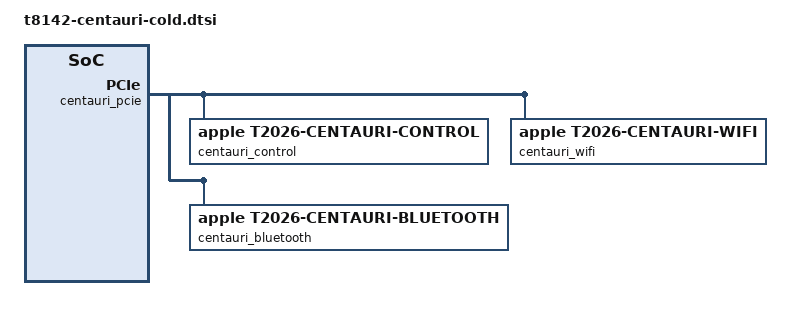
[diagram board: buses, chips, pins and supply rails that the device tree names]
// SPDX-License-Identifier: GPL-2.0-only
/* Experimental T8142/J813 cold image-transfer test.
 * The loader powers/trains PCIe only. Linux owns MSI/RID routing and DART
 * page tables and allocates every image/record/resource through DMA APIs.
 * No wireless firmware, context, queue or retained mapping is supplied by the
 * loader. Linux resets the port between image stages; initial host power/PHY
 * initialization remains in the loader.
 */

/ {
	aliases {
		wifi0 = &centauri_wifi;
		bluetooth0 = &centauri_bluetooth;
	};

	chosen {
		linux,pci-probe-only = <1>;
	};

	soc {
		centauri_dart: iommu@488000000 {
			compatible = "apple,t8110-dart";
			reg = <0x4 0x88000000 0x0 0x20000>;
			#iommu-cells = <1>;
			interrupt-parent = <&aic>;
			interrupts = <0 1463 4>;
		};
		centauri_pcie: pcie@1cb0000000 {
			compatible = "apple,t8142-pcie";
			device_type = "pci";
			reg = <0x1c 0xb0000000 0x0 0x10000000>,
			      <0x4 0x8c000000 0x0 0x4000>,
			      <0x4 0x88028000 0x0 0x8000>,
			      <0x4 0x8f010000 0x0 0x4000>;
			reg-names = "config", "rc", "port0", "phy0";
			interrupt-parent = <&aic>;
			interrupts = <0 1462 4>;
			msi-controller;
			msi-parent = <&centauri_pcie>;
			msi-ranges = <&aic 0 1741 1 32>;
			bus-range = <0 8>;
			#address-cells = <3>;
			#size-cells = <2>;
			ranges = <0x43000000 0xb 0xc0000000 0xb 0xc0000000 0x0 0x20000000>,
				 <0x02000000 0x0 0x80000000 0xb 0x80000000 0x0 0x40000000>;
			iommu-map = <0x100 &centauri_dart 1 3>;
			iommu-map-mask = <0xffff>;
			/* Bootstrap is 01:00.0; runtime functions retain RIDs0100..0102.
			 * One control node describes both states of the physical function.
			 */
			centauri_port0: pci@0,0 {
				device_type = "pci";
				reg = <0 0 0 0 0>;
				reset-gpios = <&pinctrl_ap 192 1>; /* active low */
				bus-range = <1 1>;
				#address-cells = <3>;
				#size-cells = <2>;
				ranges;
				interrupt-controller;
				#interrupt-cells = <1>;
				interrupt-map-mask = <0 0 0 7>;
				interrupt-map = <0 0 0 1 &centauri_port0 0 0 0 0>,
						<0 0 0 2 &centauri_port0 0 0 0 1>,
						<0 0 0 3 &centauri_port0 0 0 0 2>,
						<0 0 0 4 &centauri_port0 0 0 0 3>;
				centauri_control: control@0 {
					compatible = "apple,t2026-centauri-control", "pci106b,1900",
						     "pci106b,1901";
					reg = <0x10000 0 0 0 0>;
					/* Independent firmware inputs are prepared outside the driver. */
					firmware-name = "apple/centauri/experimental-prepared.ftab";
					apple,host-platform-id = <0x248142>;
				};
				centauri_wifi: wifi@0,1 {
					compatible = "apple,t2026-centauri-wifi", "pci106b,1902";
					reg = <0x10100 0 0 0 0>;
					apple,control = <&centauri_control>;
				};
				centauri_bluetooth: bluetooth@0,2 {
					compatible = "apple,t2026-centauri-bluetooth", "pci106b,1903";
					reg = <0x10200 0 0 0 0>;
					apple,control = <&centauri_control>;
					/* Standard local-bd-address supplied by bluetooth0 fixup. */
				};
			};
		};
	};
};
